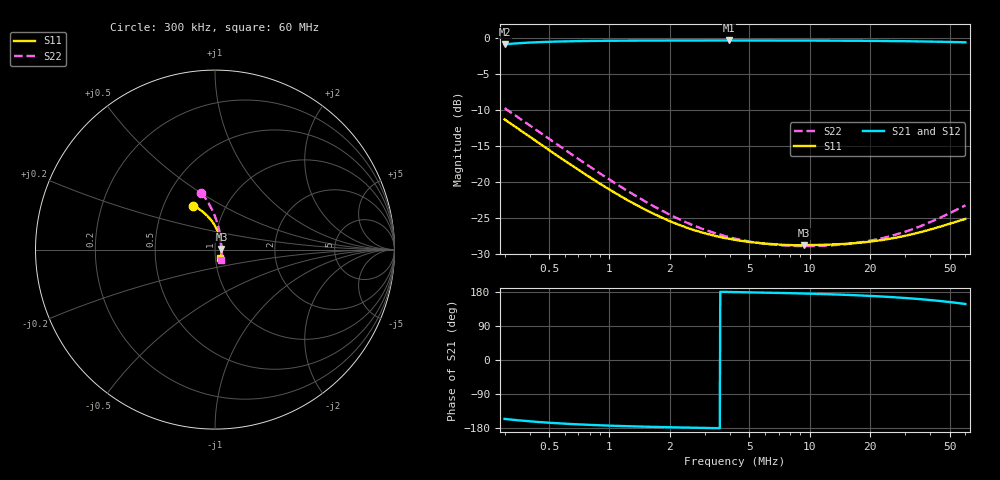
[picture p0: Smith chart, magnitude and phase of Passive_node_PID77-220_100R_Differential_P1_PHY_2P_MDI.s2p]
! TOUCHSTONE file generated by CST DESIGN STUDIO
! Date and time: Tue May 12 12:13:23 2026
! Project name: C:\sim_local\10base-t1m\passive_node_simulations_nostub.cst
! Tree item: Tasks\SPara1\S-Parameters
! Header version: 2024
! Port assignment regex: !\s*Touchstone port\s*([0-9]+)\s*=\s*(CST MWS port|CST DES external port|CST DES block port)\s*(.+)\s* \(\"(.*)\"\)(\s*mode\s*([0-9]+))?.*
! Touchstone port assignment:
! Touchstone port 1 = CST DES external port 1 ("PHY")
! Touchstone port 2 = CST DES external port 2 ("MDI")
# MHz S MA R 100
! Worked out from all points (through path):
!   1001 points, 300 kHz to 60 MHz, reference 100 ohm
!   highest |S21| = -0.31 dB at 3.939 MHz (marker M1); lowest = -0.8 dB at 300 kHz (marker M2)
!   lowest |S11| = -28.8 dB at 9.343 MHz (marker M3), VSWR 1.08, Z = 107 + j0.723 ohm
!   |S11| at or under -10 dB: start of sweep to end of sweep
!   |S22| runs from -28.9 to -9.7 dB; largest |S21 - S12| = 0.00039
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0.3  0.2725 116.3  0.9072 -155.5  0.9073 -155.5  0.3267 103.6
0.3669107  0.2243 108.4  0.9267 -160.1  0.9267 -160.1  0.269 98.6
0.4463736  0.1857 101.6  0.9394 -163.7  0.9394 -163.7  0.2225 94.2
0.5605867  0.1495 94.1  0.9491 -167.2  0.949 -167.2  0.1787 89.2
0.7267638  0.1175 86.0  0.9559 -170.3  0.9558 -170.3  0.1396 83.6
1.170809  0.07786 71.1  0.962 -174.4  0.9619 -174.4  0.09052 72.4
1.760619  0.05787 57.3  0.9642 -176.9  0.9641 -176.9  0.06501 61.0
2.187799  0.05082 49.7  0.9647 -177.9  0.9646 -177.9  0.05581 54.2
2.647553  0.04627 42.9  0.9649 -178.8  0.9649 -178.8  0.04973 47.9
3.238051  0.04275 36.0  0.9651 -179.6  0.965 -179.6  0.04486 41.0
3.939325  0.04038 29.5  0.9651 179.6  0.965 179.6  0.04144 34.2
4.242641  0.03956 27.1  0.9651 179.3  0.965 179.3  0.04037 31.7
6.082839  0.03722 16.5  0.9647 177.7  0.9645 177.7  0.03702 20.0
9.343073  0.03621 5.3  0.964 175.5  0.9637 175.5  0.03578 7.2
10.27799  0.03643 2.0  0.9633 174.9  0.963 174.9  0.03581 3.4
13.11462  0.03672 -4.2  0.9623 173.2  0.9619 173.2  0.0363 -3.7
16.82302  0.03753 -10.9  0.9606 171.0  0.9603 171.0  0.03754 -11.2
24.89891  0.04018 -22.8  0.9565 166.5  0.9562 166.5  0.04173 -24.2
31.60288  0.04291 -31.5  0.9529 162.8  0.9526 162.8  0.04617 -33.2
40.32497  0.04681 -41.8  0.9479 158.1  0.9477 158.1  0.05281 -43.3
49.05826  0.05074 -51.1  0.943 153.5  0.9428 153.5  0.05986 -52.1
60  0.05533 -61.4  0.9371 147.7  0.9368 147.7  0.06874 -61.4
